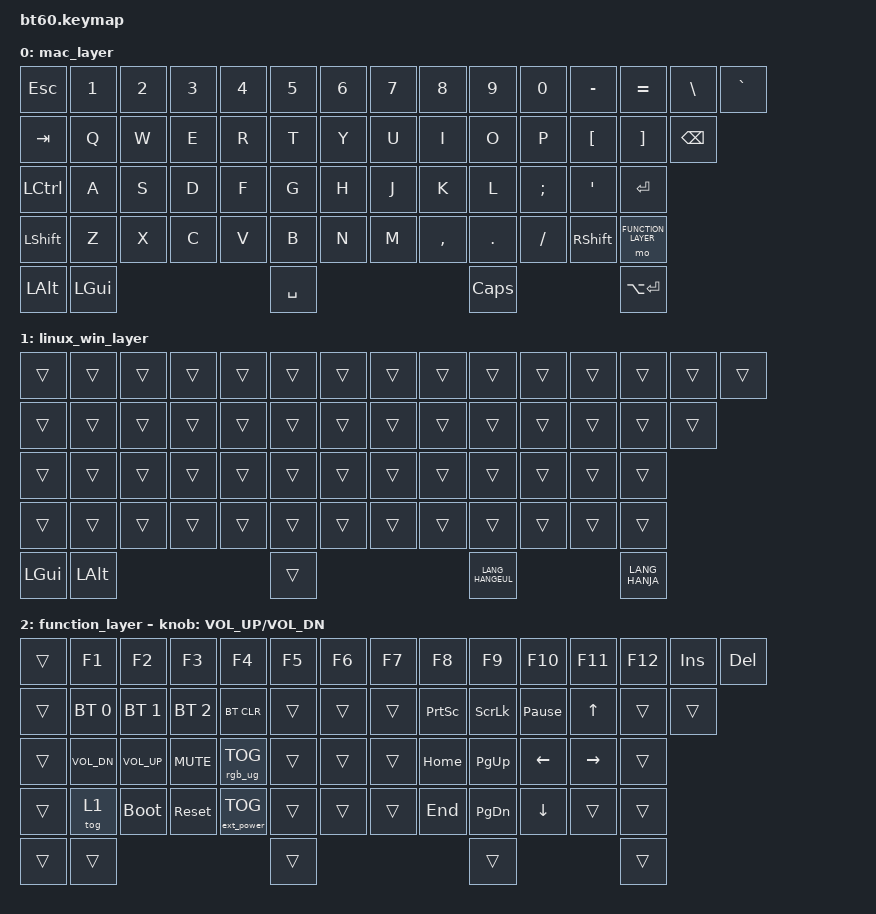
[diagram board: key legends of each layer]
#include <behaviors.dtsi>
#include <dt-bindings/zmk/keys.h>
#include <dt-bindings/zmk/bt.h>
#include <dt-bindings/zmk/rgb.h>
#include <dt-bindings/zmk/backlight.h>
#include <dt-bindings/zmk/ext_power.h>

#define MAC_LAYER 0
#define LINUX_WIN_LAYER 1
#define FUNCTION_LAYER 2

/ {

	combos {
	    compatible = "zmk,combos";
  	    	combo_esc {
  	          timeout-ms = <50>;
  	          key-positions = <1 2>;
 	          bindings = <&kp A>, <&kp A>, <&kp A>;
  	        };
 	};

	keymap {
		compatible = "zmk,keymap";

		mac_layer {
				// ------------------------------------------------------------------------------------------
				// | ESC |  1  |  2  |  3  |  4  |  5  |  6  |  7  |  8  |  9  |  0  |  -  |  =  | |  |GRAVE|
				// | TAB  |  Q  |  W  |  E  |  R  |  T  |  Y  |  U  |  I  |  O  |  P  |  [  |  ]  |  BKSP   |
				// | LCTL  |  A  |  S  |  D  |  F  |  G  |  H  |  J  |  K  |  L  |  ;  |  '  |     ENTER    |
				// | SHIFT  |  Z  |  X  |  C  |  V  |  B  |  N  |  M  |  ,  |  .  | /   |     SHFT    | Func|
				// |      | LALT | COMMAND |            SPACE               | 한영 | 한자 |
				// ------------------------------------------------------------------------------------------
			bindings = <
				&kp ESC	&kp N1 &kp N2 &kp N3 &kp N4 &kp N5 &kp N6 &kp N7 &kp N8 &kp N9 &kp N0 &kp MINUS &kp EQUAL &kp BSLH &kp GRAVE
				&kp TAB &kp Q &kp W &kp E &kp R &kp T &kp Y &kp U &kp I &kp O &kp P &kp LBKT &kp RBKT &kp BSPC
				&kp LCTL &kp A &kp S &kp D &kp F &kp G &kp H &kp J &kp K &kp L &kp SEMI &kp SQT &kp RET
				&kp LSHFT &kp Z &kp X &kp C &kp V &kp B &kp N &kp M &kp COMMA &kp DOT &kp FSLH &kp RSHFT &mo FUNCTION_LAYER
				&kp LALT &kp LGUI            &kp SPACE                          &kp CAPS &kp LA(RET)
			>;

		};

		linux_win_layer {
				// ------------------------------------------------------------------------------------------
				// | ESC |  1  |  2  |  3  |  4  |  5  |  6  |  7  |  8  |  9  |  0  |  -  |  =  | |  |GRAVE|
				// | TAB  |  Q  |  W  |  E  |  R  |  T  |  Y  |  U  |  I  |  O  |  P  |  [  |  ]  |  BKSP   |
				// | LCTL  |  A  |  S  |  D  |  F  |  G  |  H  |  J  |  K  |  L  |  ;  |  '  |     ENTER    |
				// | SHIFT  |  Z  |  X  |  C  |  V  |  B  |  N  |  M  |  ,  |  .  | /   |     SHFT    | Func|
				// |      | WIN | LALT |            SPACE               | 한영 | 한자 |
				// ------------------------------------------------------------------------------------------
			bindings = <
				&trans &trans &trans &trans &trans &trans &trans &trans &trans &trans &trans &trans	&trans &trans &trans
				&trans &trans &trans &trans &trans &trans &trans &trans	&trans &trans &trans &trans &trans &trans
				&trans &trans &trans &trans &trans &trans &trans &trans	&trans &trans &trans &trans &trans
				&trans &trans &trans &trans &trans &trans &trans &trans	&trans &trans &trans &trans &trans
				&kp LGUI &kp LALT                   &trans                       &kp LANG_HANGEUL &kp LANG_HANJA 
			>;

		};

		function_layer {
				// ------------------------------------------------------------------------------------------
				// |     |  F1 |  F2 |  F3 |  F4 |  F5 |  F6 |  F7|  F8 |  F9 | F10 | F11 | F12 | INS | DEL |
				// |     |BT_SEL 0|BT_SEL 1|BT_SEL 2|BT_CLR|     |     |    |  PrintScreen  |  ScrollLock  |  PAUSE/BREAK  |  UP  |    |    |
				// | LCTL  |     |     |     |     |     |     |     |     |     |  LEFT  |  RIGHT  |         |
				// | SHIFT  |     |     |     |     |     |     |     |     |     | DOWN   |     |     |
				// |      | WIN | LALT |            SPACE               | 한영 | 한자 |
				// ------------------------------------------------------------------------------------------

			bindings = <
				&trans &kp F1 &kp F2 &kp F3 &kp F4 &kp F5 &kp F6 &kp F7 &kp F8 &kp F9 &kp F10 &kp F11 &kp F12 &kp INS &kp DEL
				&trans &bt BT_SEL 0 &bt BT_SEL 1 &bt BT_SEL 2 &bt BT_CLR &trans &trans &trans &kp PSCRN &kp SLCK &kp PAUSE_BREAK &kp UP &trans &trans
				&trans &kp C_VOL_DN &kp C_VOL_UP &kp C_MUTE &rgb_ug RGB_TOG &trans &trans &trans &kp HOME &kp PG_UP &kp LEFT &kp RIGHT &trans
				&trans &tog 1 &bootloader &sys_reset &ext_power EP_TOG &trans &trans &trans &kp END &kp PG_DN &kp DOWN &trans &trans 
				&trans &trans                 &trans                            &trans &trans  
			>;
			sensor-bindings = <&inc_dec_kp C_VOL_UP C_VOL_DN>;
		};



	};
};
